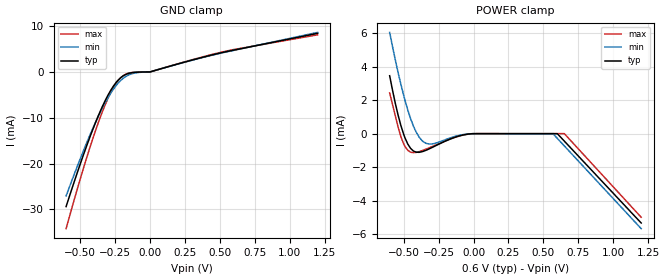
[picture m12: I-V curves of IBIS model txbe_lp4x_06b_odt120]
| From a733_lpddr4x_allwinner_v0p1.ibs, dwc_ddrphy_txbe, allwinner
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[Model] txbe_lp4x_06b_odt120
Model_type   Input
Polarity   Non-Inverting
Enable   Active-High
C_comp   940.859fF   933.303fF   952.618fF
C_comp_pullup   282.938fF   275.529fF   287.583fF
C_comp_pulldown 518.364fF   516.641fF   528.452fF
Vinh = 420.000mV
Vinl = 300.000mV
[Model Spec]
D_overshoot_ampl_h 0.1 NA   NA
D_overshoot_ampl_l 0.1 NA   NA
D_overshoot_area_l 300.000m NA   NA
D_overshoot_area_h 300.000m NA   NA
[Receiver Thresholds]
Vth = 180.000mV
Vth_min = 171.000mV
Vth_max = 195.000mV
Vinh_ac = 60.000mV
Vinh_dc = 60.000mV
Vinl_ac = -60.000mV
Vinl_dc = -60.000mV
Tslew_ac = 5.000ns
Threshold_sensitivity = 0.5
Reference_supply Power_clamp_ref
[Temperature Range]   25.000   125.000   -40.000
[Voltage Range]   600.000mV   570.000mV   650.000mV
[GND Clamp Reference]   0.00V   0.00V   0.00V
[C Comp Corner]
| variable   typ   min   max
C_comp 940.859fF   952.618fF   933.303fF
C_comp_pullup 282.938fF   287.583fF   275.529fF
C_comp_pulldown 518.364fF   528.452fF   516.641fF
[POWER Clamp Reference]   600.000mV   570.000mV   650.000mV
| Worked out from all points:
|   GND clamp passes 1 mA (typ) near -0.20 V on its own axis
|   POWER clamp passes 1 mA (typ) near -0.34 V on its own axis
[GND Clamp]
-600mV    -29.4mA    -27.09mA   -34.22mA
-470mV    -17.59mA   -16.77mA   -20.45mA
-410mV    -12.65mA   -12.42mA   -14.66mA
-350mV    -8.201mA   -8.465mA   -9.456mA
-300mV    -5.053mA   -5.613mA   -5.747mA
-260mV    -3.028mA   -3.701mA   -3.356mA
-230mV    -1.861mA   -2.528mA   -1.983mA
-190mV    -815.8uA   -1.356mA   -782.6uA
-110mV    -88.43uA   -242.9uA   -57.17uA
0V        0A         0A         0A
570mV     4.585mA    4.52mA     4.713mA
1.2V      8.436mA    8.64mA     8.112mA
[Power Clamp]
-600mV    3.464mA    6.056mA    2.435mA
-540mV    1.119mA    3.668mA    404.6uA
-490mV    -260.8uA   1.984mA    -774.4uA
-430mV    -1.04mA    451.8uA    -1.135mA
-390mV    -1.118mA   -197.6uA   -1.078mA
-360mV    -1.06mA    -478.4uA   -990.6uA
-300mV    -843uA     -622uA     -787uA
-40mV     -29.8uA    -20.6uA    -34.4uA
570mV     -1.666uA   -15.38uA   -366.8nA
600mV     -1.765uA   -285.3uA   -389.1nA
650mV     -447.1uA   -735.2uA   -426.7nA
1.2V      -5.346mA   -5.684mA   -5.002mA
